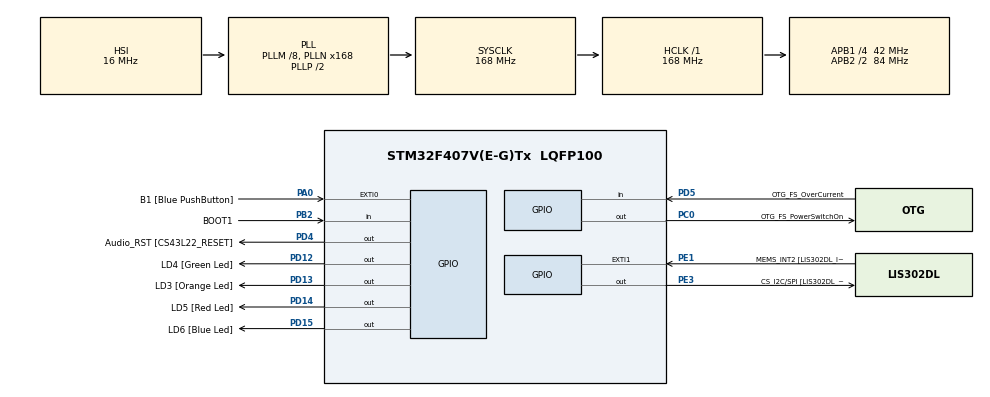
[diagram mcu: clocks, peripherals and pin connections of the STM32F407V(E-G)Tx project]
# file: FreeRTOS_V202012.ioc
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Mcu.Family=STM32F4
Mcu.Name=STM32F407V(E-G)Tx
Mcu.Package=LQFP100
NVIC.EXTI0_IRQn=true\:6\:0\:true\:false\:true\:true\:true\:true
NVIC.PriorityGroup=NVIC_PRIORITYGROUP_4
NVIC.TIM6_DAC_IRQn=true\:0\:0\:false\:false\:true\:false\:true\:true
NVIC.TimeBase=TIM6_DAC_IRQn
NVIC.TimeBaseIP=TIM6
PA0-WKUP.GPIO_Label=B1 [Blue PushButton]
PA0-WKUP.GPIO_ModeDefaultEXTI=GPIO_MODE_IT_FALLING
PA0-WKUP.Signal=GPXTI0
PA10.GPIO_Label=OTG_FS_ID
PA10.GPIO_Mode=GPIO_MODE_AF_PP
PA10.GPIO_PuPd=GPIO_NOPULL
PA10.GPIO_Speed=GPIO_SPEED_FREQ_LOW
PA10.Signal=USB_OTG_FS_ID
PA11.GPIO_Label=OTG_FS_DM
PA11.GPIO_Mode=GPIO_MODE_AF_PP
PA11.GPIO_PuPd=GPIO_NOPULL
PA11.GPIO_Speed=GPIO_SPEED_FREQ_LOW
PA11.Signal=USB_OTG_FS_DM
PA12.GPIO_Label=OTG_FS_DP
PA12.GPIO_Mode=GPIO_MODE_AF_PP
PA12.GPIO_PuPd=GPIO_NOPULL
PA12.GPIO_Speed=GPIO_SPEED_FREQ_LOW
PA12.Signal=USB_OTG_FS_DP
PA13.GPIO_Label=SWDIO
PA13.Signal=SYS_JTMS-SWDIO
PA14.GPIO_Label=SWCLK
PA14.Signal=SYS_JTCK-SWCLK
PA4.GPIO_Label=I2S3_WS [CS43L22_LRCK]
PA4.GPIO_Mode=GPIO_MODE_AF_PP
PA4.GPIO_PuPd=GPIO_NOPULL
PA4.GPIO_Speed=GPIO_SPEED_FREQ_LOW
PA4.Signal=I2S3_WS
PA5.GPIO_Label=SPI1_SCK [LIS302DL_SCL/SPC]
PA5.GPIO_Mode=GPIO_MODE_AF_PP
PA5.GPIO_PuPd=GPIO_NOPULL
PA5.GPIO_Speed=GPIO_SPEED_FREQ_LOW
PA5.Signal=SPI1_SCK
PA6.GPIO_Label=SPI1_MISO [LIS302DL_SDO]
PA6.GPIO_Mode=GPIO_MODE_AF_PP
PA6.GPIO_PuPd=GPIO_NOPULL
PA6.GPIO_Speed=GPIO_SPEED_FREQ_LOW
PA6.Signal=SPI1_MISO
PA7.GPIO_Label=SPI1_MOSI [LIS302DL_SDA/SDI/SDO]
PA7.GPIO_Mode=GPIO_MODE_AF_PP
PA7.GPIO_PuPd=GPIO_NOPULL
PA7.GPIO_Speed=GPIO_SPEED_FREQ_LOW
PA7.Signal=SPI1_MOSI
PA9.GPIO_Label=VBUS_FS
PA9.GPIO_Mode=GPIO_MODE_INPUT
PA9.GPIO_PuPd=GPIO_NOPULL
PA9.Signal=USB_OTG_FS_VBUS
PB10.GPIO_Label=CLK_IN [MP45DT02_CLK]
PB10.GPIO_Mode=GPIO_MODE_AF_PP
PB10.GPIO_PuPd=GPIO_NOPULL
PB10.GPIO_Speed=GPIO_SPEED_FREQ_LOW
PB10.Signal=I2S2_CK
PB2.GPIO_Label=BOOT1
PB2.GPIO_Mode=GPIO_MODE_INPUT
PB2.GPIO_PuPd=GPIO_NOPULL
PB2.Signal=GPIO_Input
PB3.GPIO_Label=SWO
PB3.Signal=SYS_JTDO-SWO
PB6.GPIO_Label=Audio_SCL [CS43L22_SCL]
PB6.GPIO_Mode=GPIO_MODE_AF_OD
PB6.GPIO_PuPd=GPIO_NOPULL
PB6.GPIO_Speed=GPIO_SPEED_FREQ_LOW
PB6.Signal=I2C1_SCL
PB9.GPIO_Label=Audio_SDA [CS43L22_SDA]
PB9.GPIO_Mode=GPIO_MODE_AF_OD
PB9.GPIO_PuPd=GPIO_NOPULL
PB9.GPIO_Speed=GPIO_SPEED_FREQ_LOW
PB9.Signal=I2C1_SDA
PC0.GPIO_Label=OTG_FS_PowerSwitchOn
PC0.GPIO_PuPd=GPIO_NOPULL
PC0.GPIO_Speed=GPIO_SPEED_FREQ_LOW
PC0.PinState=GPIO_PIN_SET
PC0.Signal=GPIO_Output
PC10.GPIO_Label=I2S3_SCK [CS43L22_SCLK]
PC10.GPIO_Mode=GPIO_MODE_AF_PP
PC10.GPIO_PuPd=GPIO_NOPULL
PC10.GPIO_Speed=GPIO_SPEED_FREQ_LOW
PC10.Signal=I2S3_CK
PC12.GPIO_Label=I2S3_SD [CS43L22_SDIN]
PC12.GPIO_Mode=GPIO_MODE_AF_PP
PC12.GPIO_PuPd=GPIO_NOPULL
PC12.GPIO_Speed=GPIO_SPEED_FREQ_LOW
PC12.Signal=I2S3_SD
PC14-OSC32_IN.GPIO_Label=PC14-OSC32_IN
PC14-OSC32_IN.Signal=RCC_OSC32_IN
PC15-OSC32_OUT.GPIO_Label=PC15-OSC32_OUT
PC15-OSC32_OUT.Signal=RCC_OSC32_OUT
PC3.GPIO_Label=PDM_OUT [MP45DT02_DOUT]
PC3.GPIO_Mode=GPIO_MODE_AF_PP
PC3.GPIO_PuPd=GPIO_NOPULL
PC3.GPIO_Speed=GPIO_SPEED_FREQ_LOW
PC3.Signal=I2S2_SD
PC7.GPIO_Label=I2S3_MCK [CS43L22_MCLK]
PC7.GPIO_Mode=GPIO_MODE_AF_PP
PC7.GPIO_PuPd=GPIO_NOPULL
PC7.GPIO_Speed=GPIO_SPEED_FREQ_LOW
PC7.Signal=I2S3_MCK
PD12.GPIO_Label=LD4 [Green Led]
PD12.GPIO_PuPd=GPIO_NOPULL
PD12.GPIO_Speed=GPIO_SPEED_FREQ_LOW
PD12.Signal=GPIO_Output
PD13.GPIO_Label=LD3 [Orange Led]
PD13.GPIO_PuPd=GPIO_NOPULL
PD13.GPIO_Speed=GPIO_SPEED_FREQ_LOW
PD13.Signal=GPIO_Output
PD14.GPIO_Label=LD5 [Red Led]
PD14.GPIO_PuPd=GPIO_NOPULL
PD14.GPIO_Speed=GPIO_SPEED_FREQ_LOW
PD14.Signal=GPIO_Output
PD15.GPIO_Label=LD6 [Blue Led]
PD15.GPIO_PuPd=GPIO_NOPULL
PD15.GPIO_Speed=GPIO_SPEED_FREQ_LOW
PD15.Signal=GPIO_Output
PD4.GPIO_Label=Audio_RST [CS43L22_RESET]
PD4.GPIO_PuPd=GPIO_NOPULL
PD4.GPIO_Speed=GPIO_SPEED_FREQ_LOW
PD4.Signal=GPIO_Output
PD5.GPIO_Label=OTG_FS_OverCurrent
PD5.GPIO_Mode=GPIO_MODE_INPUT
PD5.GPIO_PuPd=GPIO_NOPULL
PD5.Signal=GPIO_Input
PE1.GPIO_Label=MEMS_INT2 [LIS302DL_INT2]
PE1.GPIO_ModeDefaultEXTI=GPIO_MODE_EVT_RISING
PE1.GPIO_PuPd=GPIO_NOPULL
PE1.Signal=GPXTI1
PE3.GPIO_Label=CS_I2C/SPI [LIS302DL_CS_I2C/SPI]
PE3.GPIO_PuPd=GPIO_NOPULL
PE3.GPIO_Speed=GPIO_SPEED_FREQ_LOW
PE3.Signal=GPIO_Output
PH0-OSC_IN.GPIO_Label=PH0-OSC_IN
PH0-OSC_IN.Signal=RCC_OSC_IN
PH1-OSC_OUT.GPIO_Label=PH1-OSC_OUT
PH1-OSC_OUT.Signal=RCC_OSC_OUT
ProjectManager.HeapSize=0x200
ProjectManager.StackSize=0x400
ProjectManager.TargetToolchain=STM32CubeIDE
RCC.48MHZClocksFreq_Value=48000000
RCC.AHBFreq_Value=168000000
RCC.APB1CLKDivider=RCC_HCLK_DIV4
RCC.APB1Freq_Value=42000000
RCC.APB1TimFreq_Value=84000000
RCC.APB2CLKDivider=RCC_HCLK_DIV2
RCC.APB2Freq_Value=84000000
RCC.APB2TimFreq_Value=168000000
RCC.CortexFreq_Value=168000000
RCC.HCLKFreq_Value=168000000
RCC.HSE_VALUE=8000000
RCC.HSI_VALUE=16000000
RCC.LSE_VALUE=32768
RCC.PLLM=8
RCC.PLLN=168
RCC.PLLQ=7
RCC.SYSCLKFreq_VALUE=168000000
RCC.SYSCLKSource=RCC_SYSCLKSOURCE_PLLCLK
RCC.VCOOutputFreq_Value=336000000
VP_SYS_VS_tim6.Mode=TIM6
board=STM32F407G-DISC1

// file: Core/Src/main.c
/* USER CODE BEGIN Header */
/**
  ******************************************************************************
  * @file           : main.c
  * @brief          : Main program body
  ******************************************************************************
  * @attention
  *
  * Copyright (c) 2024 STMicroelectronics.
  * All rights reserved.
  *
  * This software is licensed under terms that can be found in the LICENSE file
  * in the root directory of this software component.
  * If no LICENSE file comes with this software, it is provided AS-IS.
  *
  ******************************************************************************
  */
/* USER CODE END Header */
#include "main.h"

/* USER CODE BEGIN Includes */
#include <stdio.h>

#include "FreeRTOS.h"
#include "task.h"
/* USER CODE END Includes */

/* USER CODE BEGIN PV */
#define DWT_CTRL (* (volatile uint32_t*)0xE0001000)

static TaskHandle_t nextHandle = NULL;
static TaskHandle_t task_GreenLEDHandle, task_OrangeLEDHandle, task_RedLEDHandle;
/* USER CODE END PV */

void SystemClock_Config(void);
static void MX_GPIO_Init(void);

/* USER CODE BEGIN 0 */

 void HAL_GPIO_EXTI_Callback(uint16_t GPIO_Pin)
{
	 traceISR_ENTER();
	 static uint32_t msecCount = 0;
	 if(msecCount == 0u){
		 msecCount = HAL_GetTick();
	 }
	 else{
		if( HAL_GetTick() - msecCount > 100){
			if(nextHandle){
				BaseType_t xHigherPriorityTaskWoken;
				xTaskNotifyFromISR(nextHandle,0,eNoAction,&xHigherPriorityTaskWoken);
				portYIELD_FROM_ISR(xHigherPriorityTaskWoken);
			}
			else{
				xTaskResumeFromISR(task_GreenLEDHandle);
				xTaskResumeFromISR(task_OrangeLEDHandle);
				xTaskResumeFromISR(task_RedLEDHandle);
				nextHandle = task_GreenLEDHandle;
			}

		}
		msecCount = 0;
	 }
	 traceISR_EXIT();
}

static void Task1_HandleGreenLED(void* parameters)
{
	while(1)
	{

		SEGGER_SYSVIEW_PrintfTarget("Toggle Green LED");
		HAL_GPIO_TogglePin(GPIOD, LD4_Pin);
		BaseType_t buttonPressNotified = xTaskNotifyWait(0,0,NULL,pdMS_TO_TICKS(100));
		if(buttonPressNotified)
		{
			HAL_GPIO_WritePin(GPIOD, LD4_Pin, GPIO_PIN_SET);
			portENTER_CRITICAL();
			SEGGER_SYSVIEW_PrintfTarget("Suspend Green LED task");
			nextHandle = task_OrangeLEDHandle;
			portEXIT_CRITICAL();
			vTaskSuspend(NULL);
		}

	}

}

static void Task2_HandleOrangeLED(void* parameters)
{
	while(1)
	{
		SEGGER_SYSVIEW_PrintfTarget("Toggle Orange LED");
		HAL_GPIO_TogglePin(GPIOD, LD3_Pin);

		BaseType_t buttonPressNotified = xTaskNotifyWait(0,0,NULL,pdMS_TO_TICKS(800));
		if(buttonPressNotified)
		{
			HAL_GPIO_WritePin(GPIOD, LD3_Pin, GPIO_PIN_SET);
			portENTER_CRITICAL();
			SEGGER_SYSVIEW_PrintfTarget("Suspend Orange LED task");
			nextHandle = task_RedLEDHandle;
			portEXIT_CRITICAL();
			vTaskSuspend(NULL);
		}

	}
}

static void Task3_HandleRedLED(void* parameters)
{
	while(1)
	{
		SEGGER_SYSVIEW_PrintfTarget("Toggle Red LED");
		HAL_GPIO_TogglePin(GPIOD, LD5_Pin);
		BaseType_t buttonPressNotified = xTaskNotifyWait(0,0,NULL,pdMS_TO_TICKS(1000));
		if(buttonPressNotified)
		{
			HAL_GPIO_WritePin(GPIOD, LD5_Pin, GPIO_PIN_SET);
			portENTER_CRITICAL();
			SEGGER_SYSVIEW_PrintfTarget("Suspend Red LED task");
			nextHandle = NULL;
			portEXIT_CRITICAL();
			vTaskSuspend(NULL);
		}
	}
}

/* USER CODE END 0 */

int main(void)
{

  /* MCU Configuration--------------------------------------------------------*/

  /* Reset of all peripherals, Initializes the Flash interface and the Systick. */
  HAL_Init();

  /* Configure the system clock */
  SystemClock_Config();

  /* Initialize all configured peripherals */
  MX_GPIO_Init();
  /* USER CODE BEGIN 2 */
  DWT_CTRL |= (1<<0);
  SEGGER_UART_init(500000);

  SEGGER_SYSVIEW_Conf();
  //SEGGER_SYSVIEW_Start();

  BaseType_t task1_ret, task2_ret, task3_ret;
  task1_ret =  xTaskCreate( 	Task1_HandleGreenLED,
  								"Task1_GREEN_LED",
								1000u,
								NULL,
								configMAX_PRIORITIES -2,
								&task_GreenLEDHandle );
  configASSERT(task1_ret == pdPASS);
  nextHandle = task_GreenLEDHandle;
  task2_ret =  xTaskCreate( 	Task2_HandleOrangeLED,
  								"Task2_ORANGE_LED",
								1000u,
								NULL,
								configMAX_PRIORITIES -2,
								&task_OrangeLEDHandle );
  configASSERT(task2_ret == pdPASS);

  task3_ret =  xTaskCreate( 	Task3_HandleRedLED,
  								"Task3_RED_LED",
								1000u,
								NULL,
								configMAX_PRIORITIES -2,
								&task_RedLEDHandle );
  configASSERT(task3_ret == pdPASS);

//  task4_ret =  xTaskCreate( 	Task4_HandleButtonPress,
//    							"Task4_BUTTON_TASK",
//  								1000u,
//  								NULL,
//  								configMAX_PRIORITIES -1,
//  								&task4_Handle );
//    configASSERT(task4_ret == pdPASS);

  vTaskStartScheduler();

  /* USER CODE END 2 */

  /* Infinite loop */
  while (1)
  {

  }
}

void SystemClock_Config(void)
{
  RCC_OscInitTypeDef RCC_OscInitStruct = {0};
  RCC_ClkInitTypeDef RCC_ClkInitStruct = {0};

  /** Configure the main internal regulator output voltage
  */
  __HAL_RCC_PWR_CLK_ENABLE();
  __HAL_PWR_VOLTAGESCALING_CONFIG(PWR_REGULATOR_VOLTAGE_SCALE1);

  /** Initializes the RCC Oscillators according to the specified parameters
  * in the RCC_OscInitTypeDef structure.
  */
  RCC_OscInitStruct.OscillatorType = RCC_OSCILLATORTYPE_HSI;
  RCC_OscInitStruct.HSIState = RCC_HSI_ON;
  RCC_OscInitStruct.HSICalibrationValue = RCC_HSICALIBRATION_DEFAULT;
  RCC_OscInitStruct.PLL.PLLState = RCC_PLL_ON;
  RCC_OscInitStruct.PLL.PLLSource = RCC_PLLSOURCE_HSI;
  RCC_OscInitStruct.PLL.PLLM = 8;
  RCC_OscInitStruct.PLL.PLLN = 168;
  RCC_OscInitStruct.PLL.PLLP = RCC_PLLP_DIV2;
  RCC_OscInitStruct.PLL.PLLQ = 7;
  if (HAL_RCC_OscConfig(&RCC_OscInitStruct) != HAL_OK)
  {
    Error_Handler();
  }

  /** Initializes the CPU, AHB and APB buses clocks
  */
  RCC_ClkInitStruct.ClockType = RCC_CLOCKTYPE_HCLK|RCC_CLOCKTYPE_SYSCLK
                              |RCC_CLOCKTYPE_PCLK1|RCC_CLOCKTYPE_PCLK2;
  RCC_ClkInitStruct.SYSCLKSource = RCC_SYSCLKSOURCE_PLLCLK;
  RCC_ClkInitStruct.AHBCLKDivider = RCC_SYSCLK_DIV1;
  RCC_ClkInitStruct.APB1CLKDivider = RCC_HCLK_DIV4;
  RCC_ClkInitStruct.APB2CLKDivider = RCC_HCLK_DIV2;

  if (HAL_RCC_ClockConfig(&RCC_ClkInitStruct, FLASH_LATENCY_5) != HAL_OK)
  {
    Error_Handler();
  }
}

static void MX_GPIO_Init(void)
{
  GPIO_InitTypeDef GPIO_InitStruct = {0};

  /* GPIO Ports Clock Enable */
  __HAL_RCC_GPIOE_CLK_ENABLE();
  __HAL_RCC_GPIOC_CLK_ENABLE();
  __HAL_RCC_GPIOH_CLK_ENABLE();
  __HAL_RCC_GPIOA_CLK_ENABLE();
  __HAL_RCC_GPIOB_CLK_ENABLE();
  __HAL_RCC_GPIOD_CLK_ENABLE();

  /*Configure GPIO pin Output Level */
  HAL_GPIO_WritePin(CS_I2C_SPI_GPIO_Port, CS_I2C_SPI_Pin, GPIO_PIN_RESET);

  /*Configure GPIO pin Output Level */
  HAL_GPIO_WritePin(OTG_FS_PowerSwitchOn_GPIO_Port, OTG_FS_PowerSwitchOn_Pin, GPIO_PIN_SET);

  /*Configure GPIO pin Output Level */
  HAL_GPIO_WritePin(GPIOD, LD4_Pin|LD3_Pin|LD5_Pin|LD6_Pin
                          |Audio_RST_Pin, GPIO_PIN_RESET);

  /*Configure GPIO pin : CS_I2C_SPI_Pin */
  GPIO_InitStruct.Pin = CS_I2C_SPI_Pin;
  GPIO_InitStruct.Mode = GPIO_MODE_OUTPUT_PP;
  GPIO_InitStruct.Pull = GPIO_NOPULL;
  GPIO_InitStruct.Speed = GPIO_SPEED_FREQ_LOW;
  HAL_GPIO_Init(CS_I2C_SPI_GPIO_Port, &GPIO_InitStruct);

  /*Configure GPIO pin : OTG_FS_PowerSwitchOn_Pin */
  GPIO_InitStruct.Pin = OTG_FS_PowerSwitchOn_Pin;
  GPIO_InitStruct.Mode = GPIO_MODE_OUTPUT_PP;
  GPIO_InitStruct.Pull = GPIO_NOPULL;
  GPIO_InitStruct.Speed = GPIO_SPEED_FREQ_LOW;
  HAL_GPIO_Init(OTG_FS_PowerSwitchOn_GPIO_Port, &GPIO_InitStruct);

  /*Configure GPIO pin : PDM_OUT_Pin */
  GPIO_InitStruct.Pin = PDM_OUT_Pin;
  GPIO_InitStruct.Mode = GPIO_MODE_AF_PP;
  GPIO_InitStruct.Pull = GPIO_NOPULL;
  GPIO_InitStruct.Speed = GPIO_SPEED_FREQ_LOW;
  GPIO_InitStruct.Alternate = GPIO_AF5_SPI2;
  HAL_GPIO_Init(PDM_OUT_GPIO_Port, &GPIO_InitStruct);

  /*Configure GPIO pin : B1_Pin */
  GPIO_InitStruct.Pin = B1_Pin;
  GPIO_InitStruct.Mode = GPIO_MODE_IT_FALLING;
  GPIO_InitStruct.Pull = GPIO_NOPULL;
  HAL_GPIO_Init(B1_GPIO_Port, &GPIO_InitStruct);

  /*Configure GPIO pin : I2S3_WS_Pin */
  GPIO_InitStruct.Pin = I2S3_WS_Pin;
  GPIO_InitStruct.Mode = GPIO_MODE_AF_PP;
  GPIO_InitStruct.Pull = GPIO_NOPULL;
  GPIO_InitStruct.Speed = GPIO_SPEED_FREQ_LOW;
  GPIO_InitStruct.Alternate = GPIO_AF6_SPI3;
  HAL_GPIO_Init(I2S3_WS_GPIO_Port, &GPIO_InitStruct);

  /*Configure GPIO pins : SPI1_SCK_Pin SPI1_MISO_Pin SPI1_MOSI_Pin */
  GPIO_InitStruct.Pin = SPI1_SCK_Pin|SPI1_MISO_Pin|SPI1_MOSI_Pin;
  GPIO_InitStruct.Mode = GPIO_MODE_AF_PP;
  GPIO_InitStruct.Pull = GPIO_NOPULL;
  GPIO_InitStruct.Speed = GPIO_SPEED_FREQ_LOW;
  GPIO_InitStruct.Alternate = GPIO_AF5_SPI1;
  HAL_GPIO_Init(GPIOA, &GPIO_InitStruct);

  /*Configure GPIO pin : BOOT1_Pin */
  GPIO_InitStruct.Pin = BOOT1_Pin;
  GPIO_InitStruct.Mode = GPIO_MODE_INPUT;
  GPIO_InitStruct.Pull = GPIO_NOPULL;
  HAL_GPIO_Init(BOOT1_GPIO_Port, &GPIO_InitStruct);

  /*Configure GPIO pin : CLK_IN_Pin */
  GPIO_InitStruct.Pin = CLK_IN_Pin;
  GPIO_InitStruct.Mode = GPIO_MODE_AF_PP;
  GPIO_InitStruct.Pull = GPIO_NOPULL;
  GPIO_InitStruct.Speed = GPIO_SPEED_FREQ_LOW;
  GPIO_InitStruct.Alternate = GPIO_AF5_SPI2;
  HAL_GPIO_Init(CLK_IN_GPIO_Port, &GPIO_InitStruct);

  /*Configure GPIO pins : LD4_Pin LD3_Pin LD5_Pin LD6_Pin
                           Audio_RST_Pin */
  GPIO_InitStruct.Pin = LD4_Pin|LD3_Pin|LD5_Pin|LD6_Pin
                          |Audio_RST_Pin;
  GPIO_InitStruct.Mode = GPIO_MODE_OUTPUT_PP;
  GPIO_InitStruct.Pull = GPIO_NOPULL;
  GPIO_InitStruct.Speed = GPIO_SPEED_FREQ_LOW;
  HAL_GPIO_Init(GPIOD, &GPIO_InitStruct);

  /*Configure GPIO pins : I2S3_MCK_Pin I2S3_SCK_Pin I2S3_SD_Pin */
  GPIO_InitStruct.Pin = I2S3_MCK_Pin|I2S3_SCK_Pin|I2S3_SD_Pin;
  GPIO_InitStruct.Mode = GPIO_MODE_AF_PP;
  GPIO_InitStruct.Pull = GPIO_NOPULL;
  GPIO_InitStruct.Speed = GPIO_SPEED_FREQ_LOW;
  GPIO_InitStruct.Alternate = GPIO_AF6_SPI3;
  HAL_GPIO_Init(GPIOC, &GPIO_InitStruct);

  /*Configure GPIO pin : VBUS_FS_Pin */
  GPIO_InitStruct.Pin = VBUS_FS_Pin;
  GPIO_InitStruct.Mode = GPIO_MODE_INPUT;
  GPIO_InitStruct.Pull = GPIO_NOPULL;
  HAL_GPIO_Init(VBUS_FS_GPIO_Port, &GPIO_InitStruct);

  /*Configure GPIO pins : OTG_FS_ID_Pin OTG_FS_DM_Pin OTG_FS_DP_Pin */
  GPIO_InitStruct.Pin = OTG_FS_ID_Pin|OTG_FS_DM_Pin|OTG_FS_DP_Pin;
  GPIO_InitStruct.Mode = GPIO_MODE_AF_PP;
  GPIO_InitStruct.Pull = GPIO_NOPULL;
  GPIO_InitStruct.Speed = GPIO_SPEED_FREQ_LOW;
  GPIO_InitStruct.Alternate = GPIO_AF10_OTG_FS;
  HAL_GPIO_Init(GPIOA, &GPIO_InitStruct);

  /*Configure GPIO pin : OTG_FS_OverCurrent_Pin */
  GPIO_InitStruct.Pin = OTG_FS_OverCurrent_Pin;
  GPIO_InitStruct.Mode = GPIO_MODE_INPUT;
  GPIO_InitStruct.Pull = GPIO_NOPULL;
  HAL_GPIO_Init(OTG_FS_OverCurrent_GPIO_Port, &GPIO_InitStruct);

  /*Configure GPIO pins : Audio_SCL_Pin Audio_SDA_Pin */
  GPIO_InitStruct.Pin = Audio_SCL_Pin|Audio_SDA_Pin;
  GPIO_InitStruct.Mode = GPIO_MODE_AF_OD;
  GPIO_InitStruct.Pull = GPIO_NOPULL;
  GPIO_InitStruct.Speed = GPIO_SPEED_FREQ_LOW;
  GPIO_InitStruct.Alternate = GPIO_AF4_I2C1;
  HAL_GPIO_Init(GPIOB, &GPIO_InitStruct);

  /*Configure GPIO pin : MEMS_INT2_Pin */
  GPIO_InitStruct.Pin = MEMS_INT2_Pin;
  GPIO_InitStruct.Mode = GPIO_MODE_EVT_RISING;
  GPIO_InitStruct.Pull = GPIO_NOPULL;
  HAL_GPIO_Init(MEMS_INT2_GPIO_Port, &GPIO_InitStruct);

  /* EXTI interrupt init*/
  HAL_NVIC_SetPriority(EXTI0_IRQn, 6, 0);
  HAL_NVIC_EnableIRQ(EXTI0_IRQn);

}

void HAL_TIM_PeriodElapsedCallback(TIM_HandleTypeDef *htim)
{
  if (htim->Instance == TIM6) {
    HAL_IncTick();
  }
}

void Error_Handler(void)
{
  __disable_irq();
  while (1)
  {
  }
}
